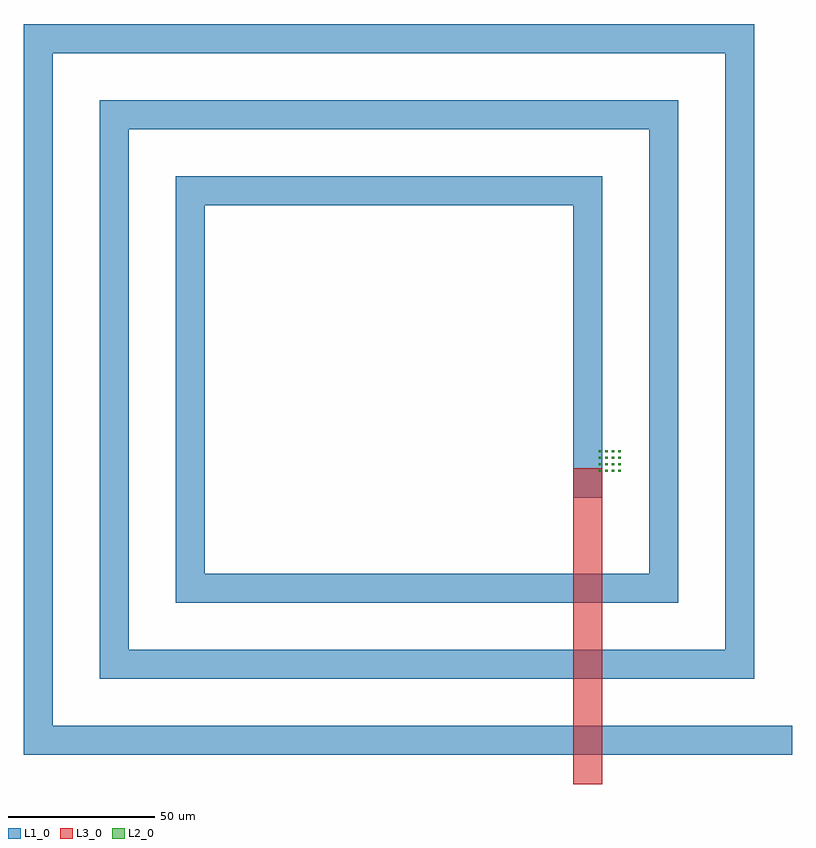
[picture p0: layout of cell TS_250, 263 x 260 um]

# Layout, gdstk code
import gdstk
lib = gdstk.Library(unit=1e-6, precision=1e-09)
def R(c, l, rs):  # rectangles x0, y0, x1, y1
    for r in rs: c.add(gdstk.rectangle(r[:2], r[2:], *l))
def A(c, l, x, y, w, h, nx, ny, dx, dy):  # array of equal rectangles
    R(c, l, [(x+i*dx, y+j*dy, x+i*dx+w, y+j*dy+h) for i in range(nx) for j in range(ny)])
def P(c, l, *ps):  # polygons
    for p in ps: c.add(gdstk.Polygon(p, *l))
L1_0 = (1, 0)
L2_0 = (2, 0)
L3_0 = (3, 0)

ts_250 = lib.new_cell('TS_250')
R(ts_250, L1_0, [(288,198,298,208)])
P(ts_250, L1_0, [(100,110),(110,120),(363,120),(363,110)],
  [(100,110),(100,360),(110,350),(110,120)],
  [(110,350),(100,360),(350,360),(340,350)],
  [(350,136),(340,146),(340,350),(350,360)],
  [(126,136),(136,146),(340,146),(350,136)],
  [(126,136),(126,334),(136,324),(136,146)],
  [(136,324),(126,334),(324,334),(314,324)],
  [(324,162),(314,172),(314,324),(324,334)],
  [(152,162),(162,172),(314,172),(324,162)],
  [(152,162),(152,308),(162,298),(162,172)],
  [(162,298),(152,308),(298,308),(288,298)],
  [(288,198),(288,298),(298,308),(298,198)])
A(ts_250, L2_0, 296.75, 206.75, 0.75, 0.75, 4, 4, 2.25, 2.25)
R(ts_250, L3_0, [(288,100,298,208), (288,198,298,208)])

lib.write_gds('TS_250.gds')
